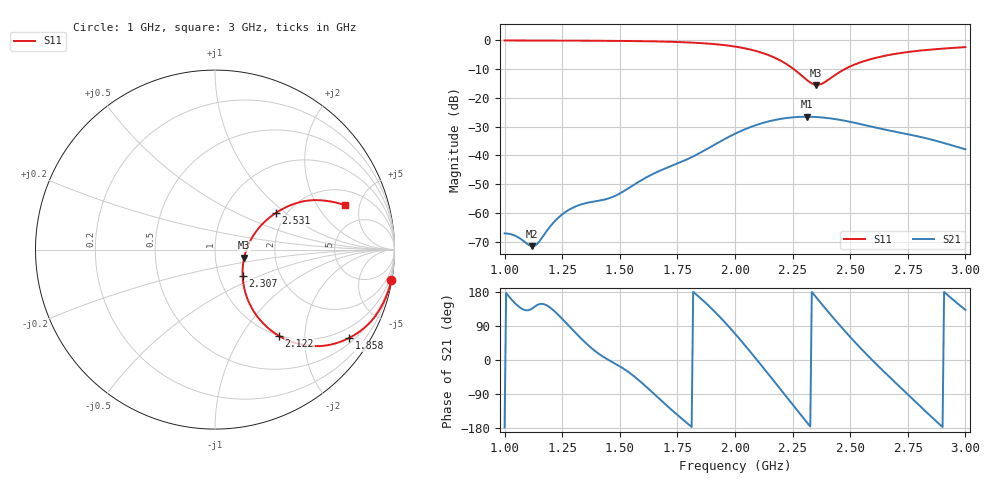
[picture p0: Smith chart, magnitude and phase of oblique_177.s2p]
! TOUCHSTONE file generated by CST MICROWAVE STUDIO
! Date and time: Tue Mar 18 00:02:50 2025
! Project name: oblique.cst
! Parameters = {Tilt=40; Fracture=1; B=12.5; D=160; F=5; Feed=2.85625; L=100; M=30; R=0.384908; S=2; Theta=270; length=57.125; wave=114.25}
! Header version: 2024
! Port assignment regex: !\s*Touchstone port\s*([0-9]+)\s*=\s*(CST MWS port|CST DES external port|CST DES block port)\s*(.+)\s* \(\"(.*)\"\)(\s*mode\s*([0-9]+))?.*
! Touchstone port assignment:
! Touchstone port 1 = CST MWS port 1 ("")
! Touchstone port 2 = CST MWS port 2 ("")
# GHz S DB R 50
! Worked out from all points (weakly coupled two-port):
!   304 points, 1 GHz to 3 GHz, reference 50 ohm
!   highest |S21| = -26.56 dB at 2.314 GHz (marker M1); lowest = -71.6 dB at 1.119 GHz (marker M2)
!   lowest |S11| = -15.5 dB at 2.353 GHz (marker M3), VSWR 1.41, Z = 69 - j6.49 ohm
!   |S11| at or under -10 dB: 2.255 GHz to 2.476 GHz (221.1 MHz wide, 9.35 % of centre)
!   S12 and S22 are empty: the file has one direction only
!   S11 on the Smith chart (normalised r, x): 1 GHz: 0, -12; 1.858 GHz: 0.65, -3.20; 2.122 GHz: 0.99, -1.49; 2.307 GHz: 1.29, -0.40; 2.531 GHz: 1.76, +0.86; 3 GHz: 3.03, +3.59
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1  -0.02 -9.8  -67.13 -178.3  -200.00 0.0  -200.00 0.0
1.0462  -0.03 -10.4  -67.95 149.2  -200.00 0.0  -200.00 0.0
1.11881  -0.04 -11.5  -71.57 135.7  -200.00 0.0  -200.00 0.0
1.14521  -0.04 -11.9  -70.42 146.1  -200.00 0.0  -200.00 0.0
1.20462  -0.05 -12.8  -64.04 134.9  -200.00 0.0  -200.00 0.0
1.24422  -0.06 -13.5  -60.88 112.3  -200.00 0.0  -200.00 0.0
1.33663  -0.09 -15.2  -56.94 54.0  -200.00 0.0  -200.00 0.0
1.47525  -0.16 -18.3  -54.23 -8.1  -200.00 0.0  -200.00 0.0
1.66667  -0.37 -24.3  -45.59 -99.6  -200.00 0.0  -200.00 0.0
1.85809  -0.97 -33.5  -38.68 158.8  -200.00 0.0  -200.00 0.0
2.0033  -2.18 -43.8  -32.34 67.3  -200.00 0.0  -200.00 0.0
2.12211  -4.45 -53.4  -28.68 -19.9  -200.00 0.0  -200.00 0.0
2.21452  -7.80 -57.9  -27.09 -90.4  -200.00 0.0  -200.00 0.0
2.30693  -13.44 -43.8  -26.56 -160.8  -200.00 0.0  -200.00 0.0
2.31353  -13.87 -40.8  -26.56 -165.7  -200.00 0.0  -200.00 0.0
2.33993  -15.20 -25.1  -26.60 174.5  -200.00 0.0  -200.00 0.0
2.35314  -15.46 -15.7  -26.66 164.7  -200.00 0.0  -200.00 0.0
2.37954  -14.98 2.4  -26.81 145.2  -200.00 0.0  -200.00 0.0
2.43894  -11.80 24.6  -27.42 102.6  -200.00 0.0  -200.00 0.0
2.53135  -8.01 31.1  -28.87 40.1  -200.00 0.0  -200.00 0.0
2.66997  -5.05 28.7  -31.35 -44.4  -200.00 0.0  -200.00 0.0
3  -2.34 18.8  -37.87 132.4  -200.00 0.0  -200.00 0.0
